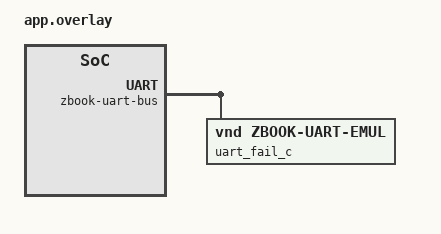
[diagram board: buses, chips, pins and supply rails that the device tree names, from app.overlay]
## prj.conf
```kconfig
CONFIG_ZTEST=y

CONFIG_SERIAL=y
CONFIG_EMUL=y

CONFIG_ZBOOK_INTERFACE_PROTOCOLS=y
CONFIG_ZBOOK_INTERFACE_PROTOCOLS_UART=y
```

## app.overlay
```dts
/*
* Stand-in for real PIO hardware -- native_sim has no PIO, so zbook_uart.c
* is exercised against zephyr,uart-emul channels tagged with the TX/RX pin
* pair they represent (vnd,zbook-uart-emul), looked up by zbook_uart_init()
* instead of a fixed devicetree instance. Same zephyr,deferred-init
* contract, loopback wired so writes come straight back out on reads.
*/
/ {
	zbook-uart-bus {
		uart_emul_a: uart_emul_a {
			compatible = "vnd,zbook-uart-emul", "zephyr,uart-emul";
			status = "okay";
			zephyr,deferred-init;
			current-speed = <115200>;
			loopback;
			zbook,tx-pin = <45>;
			zbook,rx-pin = <46>;
		};

		uart_emul_b: uart_emul_b {
			compatible = "vnd,zbook-uart-emul", "zephyr,uart-emul";
			status = "okay";
			zephyr,deferred-init;
			current-speed = <9600>;
			loopback;
			zbook,tx-pin = <1>;
			zbook,rx-pin = <39>;
		};

		/*
		* Test-only 3rd channel whose init always fails (see main.c's
		* fail_uart_init) -- exercises zbook_uart_init()'s
		* device_init()-failed branch, which no real backend hits.
		*/
		uart_fail_c {
			compatible = "vnd,zbook-uart-emul", "vnd,zbook-test-fail-uart";
			status = "okay";
			zephyr,deferred-init;
			zbook,tx-pin = <98>;
			zbook,rx-pin = <99>;
		};
	};
};
```

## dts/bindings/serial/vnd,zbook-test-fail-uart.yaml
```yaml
description: |
  Test-only UART stand-in whose init always fails (see fail_uart_init in
  src/main.c). Exists solely so zbook_uart_init()'s device_init()-failed
  branch has something to exercise -- no real zbook UART backend fails
  init, so there is no other way to reach it.

compatible: "vnd,zbook-test-fail-uart"

include: uart-controller.yaml
```

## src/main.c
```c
/*******************************************************************
 * @file main.c
 *
 * @brief Unit tests for the zbook UART protocol interface. Runs on
 * native_sim against zephyr,uart-emul stand-ins for the real PIO UARTs
 * (see app.overlay), each tagged with the TX/RX pin pair it represents --
 * exercises every branch of zbook_uart.c: unknown pin pair, not-ready-
 * before-open, open/already-ready, write+read over loopback, read-on-empty,
 * and the device_init()-failed mapping to -EBUSY.
 * @author João Matheus Nascimento Dias (joao.dias@edge.ufal.br)
 * @version 0.2
 * @date 25/09/2026
 *
 * @copyright Copyright (c) 2026
 *
 *******************************************************************/

#include <protocols/zbook_uart.h>

#include <zephyr/device.h>
#include <zephyr/devicetree.h>
#include <zephyr/init.h>
#include <zephyr/ztest.h>

/* Matches app.overlay's uart_emul_a. */
#define UART_A_TX 45
#define UART_A_RX 46

/* Matches app.overlay's uart_emul_b. */
#define UART_B_TX 1
#define UART_B_RX 39

/* Matches app.overlay's uart_fail_c -- not a real pin pair, just a tag. */
#define UART_FAIL_TX 98
#define UART_FAIL_RX 99

/* No channel is wired up for this pin pair -- exercises the not-found case. */
#define UART_UNKNOWN_TX 254
#define UART_UNKNOWN_RX 255

/*
* A 3rd zbook_uart_bus child (app.overlay) whose init always fails, wired up
* here (not via a real driver) purely to exercise zbook_uart_init()'s
* device_init()-failed branch -- no real UART backend fails init, so
* there's no other way to reach it.
*/
#define DT_DRV_COMPAT vnd_zbook_test_fail_uart

static int fail_uart_init(const struct device *dev)
{
	ARG_UNUSED(dev);
	return -EIO;
}

DEVICE_DT_INST_DEFINE(0, fail_uart_init, NULL, NULL, NULL, POST_KERNEL,
		       CONFIG_KERNEL_INIT_PRIORITY_DEVICE, NULL);

ZTEST_SUITE(zbook_uart, NULL, NULL, NULL, NULL, NULL);

ZTEST(zbook_uart, test_01_unknown_pin_pair)
{
	struct zbook_uart_channel *handle;
	uint8_t byte;

	zassert_equal(zbook_uart_init(UART_UNKNOWN_TX, UART_UNKNOWN_RX, 115200, &handle),
		      -ENODEV);
	zassert_equal(zbook_uart_write(NULL, &byte, 1), -ENODEV);
	zassert_equal(zbook_uart_read(NULL, &byte, 1), -ENODEV);
}

ZTEST(zbook_uart, test_02_close_null_handle_is_rejected)
{
	zassert_equal(zbook_uart_close(NULL), -EINVAL);
	zassert_equal(zbook_uart_init(UART_A_TX, UART_A_RX, 115200, NULL), -EINVAL);
}

ZTEST(zbook_uart, test_03_open)
{
	struct zbook_uart_channel *handle_a, *handle_b;

	zassert_equal(zbook_uart_init(UART_A_TX, UART_A_RX, 115200, &handle_a), 0);
	zassert_not_null(handle_a);
	zassert_equal(zbook_uart_init(UART_B_TX, UART_B_RX, 9600, &handle_b), 0);
	zassert_not_null(handle_b);
}

ZTEST(zbook_uart, test_04_open_already_ready_is_a_noop)
{
	struct zbook_uart_channel *handle_a, *handle_b;

	/* device_is_ready() is now true: takes the early-return path, not device_init(). */
	zassert_equal(zbook_uart_init(UART_A_TX, UART_A_RX, 115200, &handle_a), 0);
	zassert_equal(zbook_uart_init(UART_B_TX, UART_B_RX, 9600, &handle_b), 0);
}

ZTEST(zbook_uart, test_05_write_read_loopback)
{
	static const uint8_t tx_data[] = {'z', 'b', 'k'};
	uint8_t rx_data[sizeof(tx_data)] = {0};
	struct zbook_uart_channel *handle_a, *handle_b;

	zassert_equal(zbook_uart_init(UART_A_TX, UART_A_RX, 115200, &handle_a), 0);
	zassert_equal(zbook_uart_write(handle_a, tx_data, sizeof(tx_data)), 0);
	zassert_equal(zbook_uart_read(handle_a, rx_data, sizeof(rx_data)), 0);
	zassert_mem_equal(rx_data, tx_data, sizeof(tx_data));

	zassert_equal(zbook_uart_init(UART_B_TX, UART_B_RX, 9600, &handle_b), 0);
	zassert_equal(zbook_uart_write(handle_b, tx_data, sizeof(tx_data)), 0);
	zassert_equal(zbook_uart_read(handle_b, rx_data, sizeof(rx_data)), 0);
	zassert_mem_equal(rx_data, tx_data, sizeof(tx_data));
}

ZTEST(zbook_uart, test_06_read_empty_returns_minus_one)
{
	struct zbook_uart_channel *handle_a, *handle_b;
	uint8_t byte;

	/* Nothing pending after test_05 drained both loopback buffers. */
	zassert_equal(zbook_uart_init(UART_A_TX, UART_A_RX, 115200, &handle_a), 0);
	zassert_equal(zbook_uart_read(handle_a, &byte, 1), -1);

	zassert_equal(zbook_uart_init(UART_B_TX, UART_B_RX, 9600, &handle_b), 0);
	zassert_equal(zbook_uart_read(handle_b, &byte, 1), -1);
}

ZTEST(zbook_uart, test_07_open_maps_device_init_failure_to_ebusy)
{
	struct zbook_uart_channel *handle;

	/* fail_uart_init() returns -EIO, but zbook_uart_init() maps any device_init()
	 * failure to -EBUSY rather than passing the driver's errno through.
	 */
	zassert_equal(zbook_uart_init(UART_FAIL_TX, UART_FAIL_RX, 115200, &handle), -EBUSY);
}
```
